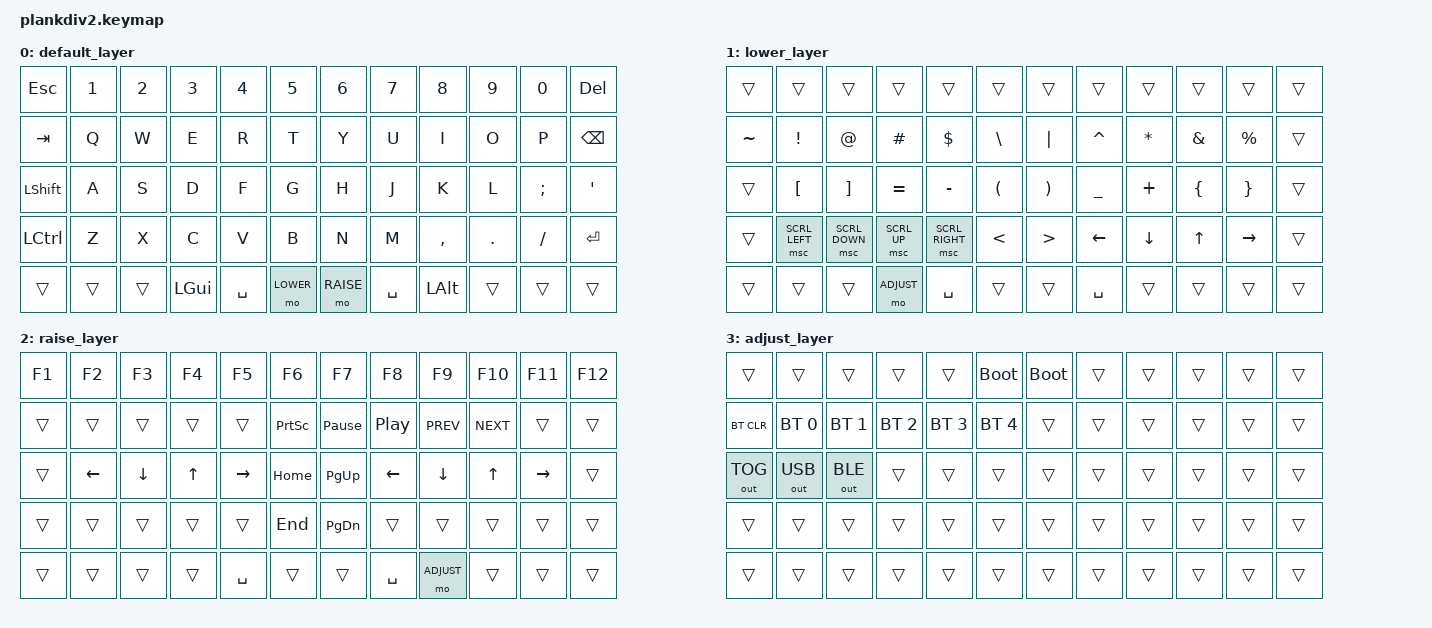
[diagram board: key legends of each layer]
/*
 * Copyright (c) 2020 The ZMK Contributors
 *
 * SPDX-License-Identifier: MIT
 */

#include <behaviors.dtsi>
#include <dt-bindings/zmk/keys.h>
#include <dt-bindings/zmk/bt.h>
// #include <dt-bindings/zmk/rgb.h>
#include <dt-bindings/zmk/ext_power.h>
#include <dt-bindings/zmk/outputs.h>
#include <dt-bindings/zmk/pointing.h>

#define DEFAULT 0
#define LOWER  1
#define RAISE  2
#define ADJUST 3

/ {
    keymap {
        compatible = "zmk,keymap";

        default_layer {
            bindings = <
                &kp ESC      &kp N1      &kp N2      &kp N3      &kp N4      &kp N5              &kp N6      &kp N7      &kp N8      &kp N9       &kp N0      &kp DEL
                &kp TAB      &kp Q       &kp W       &kp E       &kp R       &kp T               &kp Y       &kp U       &kp I       &kp O        &kp P       &kp BSPC
                &kp LSHIFT   &kp A       &kp S       &kp D       &kp F       &kp G               &kp H       &kp J       &kp K       &kp L        &kp SEMI    &kp SQT
                &kp LCTRL    &kp Z       &kp X       &kp C       &kp V       &kp B               &kp N       &kp M       &kp COMMA   &kp PERIOD   &kp SLASH   &kp RET
                &trans       &trans      &trans      &kp LGUI    &kp SPACE   &mo LOWER           &mo RAISE   &kp SPACE   &kp LALT    &trans       &trans      &trans
            >;
        };

        lower_layer {
            bindings = <
                &trans       &trans         &trans          &trans        &trans            &trans              &trans      &trans      &trans      &trans       &trans      &trans
                &kp TILDE    &kp EXCL       &kp AT          &kp HASH      &kp DLLR          &kp BSLH            &kp PIPE    &kp CARET   &kp ASTRK   &kp AMPS     &kp PRCNT   &trans
                &trans       &kp LBKT       &kp RBKT        &kp EQUAL     &kp MINUS         &kp LPAR            &kp RPAR    &kp UNDER   &kp PLUS    &kp LBRC     &kp RBRC    &trans
                &trans       &msc SCRL_LEFT &msc SCRL_DOWN  &msc SCRL_UP  &msc SCRL_RIGHT   &kp LT              &kp GT      &kp LEFT    &kp DOWN    &kp UP       &kp RIGHT   &trans
                &trans       &trans         &trans          &mo ADJUST    &kp SPACE         &trans              &trans      &kp SPACE   &trans      &trans       &trans      &trans
            >;
        };

        raise_layer {
            bindings = <
                &kp F1       &kp F2      &kp F3      &kp F4  &kp F5     &kp F6                  &kp F7          &kp F8      &kp F9      &kp F10     &kp F11     &kp F12
                &trans       &trans      &trans      &trans  &trans     &kp PSCRN               &kp PAUSE_BREAK &kp C_PP    &kp C_PREV  &kp C_NEXT  &trans      &trans
                &trans       &kp LEFT    &kp DOWN    &kp UP  &kp RIGHT  &kp HOME                &kp PG_UP       &kp LEFT    &kp DOWN    &kp UP       &kp RIGHT   &trans
                &trans       &trans      &trans      &trans  &trans     &kp END                 &kp PG_DN       &trans      &trans      &trans      &trans      &trans
                &trans       &trans      &trans      &trans  &kp SPACE  &trans                  &trans          &kp SPACE   &mo ADJUST  &trans      &trans      &trans
            >;
        };

        adjust_layer {
            bindings = <
                &trans         &trans       &trans       &trans       &trans       &bootloader          &bootloader &trans    &trans    &trans     &trans    &trans
                &bt BT_CLR     &bt BT_SEL 0 &bt BT_SEL 1 &bt BT_SEL 2 &bt BT_SEL 3 &bt BT_SEL 4         &trans      &trans    &trans    &trans     &trans    &trans
                &out OUT_TOG   &out OUT_USB &out OUT_BLE &trans       &trans       &trans               &trans      &trans    &trans    &trans     &trans    &trans
                &trans         &trans       &trans       &trans       &trans       &trans               &trans      &trans    &trans    &trans     &trans    &trans
                &trans         &trans       &trans       &trans       &trans       &trans               &trans      &trans    &trans    &trans     &trans    &trans
            >;
        };
    };
};
